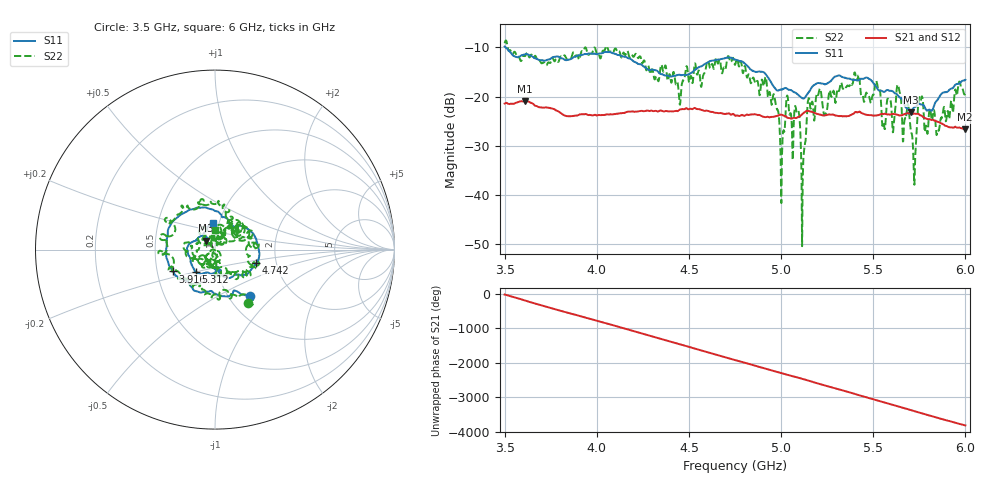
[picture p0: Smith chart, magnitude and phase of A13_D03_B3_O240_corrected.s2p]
! Created with skrf 1.9.0 (http://scikit-rf.org).
# Hz S RI R 50.0
!freq ReS11 ImS11 ReS21 ImS21 ReS12 ImS12 ReS22 ImS22
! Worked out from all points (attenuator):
!   1601 points, 3.5 GHz to 6 GHz, reference 50 ohm
!   highest |S21| = -20.90 dB at 3.611 GHz (marker M1); lowest = -26.6 dB at 5.997 GHz (marker M2)
!   lowest |S11| = -23.1 dB at 5.703 GHz (marker M3), VSWR 1.15, Z = 45.1 + j4.52 ohm
!   |S11| at or under -10 dB: 3.506 GHz to end of sweep
!   |S22| runs from -50.3 to -8.6 dB; largest |S21 - S12| = 0.00099
!   S11 on the Smith chart (normalised r, x): 3.5 GHz: 1.25, -0.72; 3.916 GHz: 0.61, -0.16; 4.742 GHz: 1.57, -0.25; 5.312 GHz: 0.78, -0.20; 6 GHz: 0.94, +0.28
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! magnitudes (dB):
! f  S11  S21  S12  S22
! 3.5 GHz  -9.8  -21.4  -21.4  -9.2
! 3.611 GHz  -11.4  -20.9  -20.9  -11.8
! 3.916 GHz  -11.6  -23.6  -23.6  -11.0
! 3.917 GHz  -11.6  -23.6  -23.6  -10.8
! 4.334 GHz  -15.0  -23.0  -22.9  -16.9
! 4.742 GHz  -12.3  -23.5  -23.6  -12.4
! 4.75 GHz  -12.5  -23.9  -23.8  -13.6
! 4.966 GHz  -18.2  -24.0  -24.0  -20.3
! 5.005 GHz  -18.5  -23.7  -23.7  -32.2
! 5.034 GHz  -18.5  -24.3  -24.2  -19.8
! 5.086 GHz  -19.4  -24.3  -24.3  -23.2
! 5.119 GHz  -20.4  -23.4  -23.3  -34.9
! 5.145 GHz  -19.3  -22.9  -22.8  -21.0
! 5.167 GHz  -18.1  -23.1  -23.0  -21.1
! 5.312 GHz  -15.7  -23.9  -23.9  -18.9
! 5.584 GHz  -18.8  -23.6  -23.6  -20.5
! 5.703 GHz  -23.1  -23.5  -23.4  -26.7
! 5.722 GHz  -22.2  -23.4  -23.4  -37.0
! 5.756 GHz  -21.6  -23.8  -23.7  -20.8
! 5.85 GHz  -20.6  -25.1  -25.0  -26.9
! 5.997 GHz  -16.7  -26.6  -26.5  -19.6
! 6 GHz  -16.6  -26.6  -26.5  -19.4
